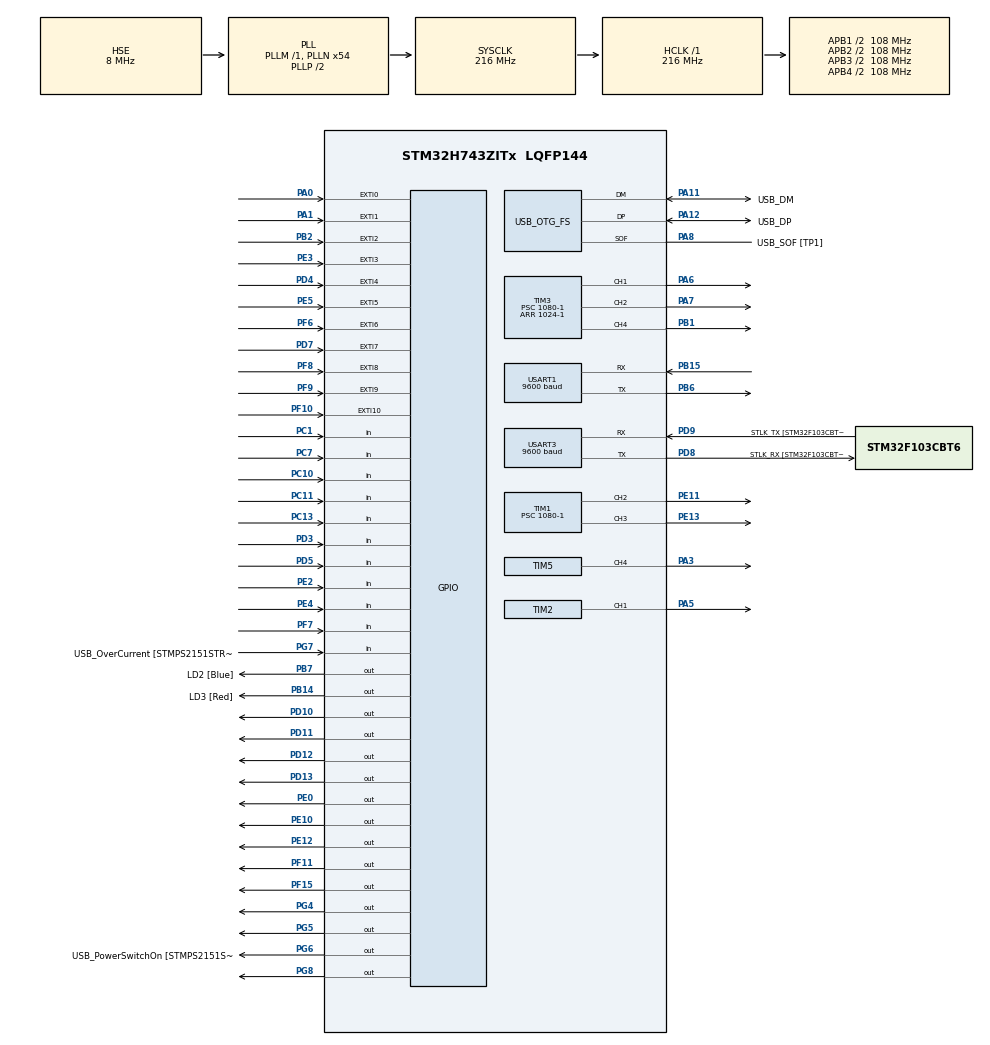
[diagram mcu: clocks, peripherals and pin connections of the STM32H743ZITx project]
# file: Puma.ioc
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Mcu.Family=STM32H7
Mcu.Name=STM32H743ZITx
Mcu.Package=LQFP144
NVIC.EXTI0_IRQn=true\:0\:0\:false\:false\:true\:true\:true
NVIC.EXTI1_IRQn=true\:0\:0\:false\:false\:true\:true\:true
NVIC.EXTI2_IRQn=true\:0\:0\:false\:false\:true\:true\:true
NVIC.EXTI3_IRQn=true\:0\:0\:false\:false\:true\:true\:true
NVIC.EXTI4_IRQn=true\:0\:0\:false\:false\:true\:true\:true
NVIC.EXTI9_5_IRQn=true\:0\:0\:false\:false\:true\:true\:true
NVIC.OTG_FS_IRQn=true\:0\:0\:false\:false\:true\:false\:true
NVIC.PriorityGroup=NVIC_PRIORITYGROUP_4
NVIC.TIM7_IRQn=true\:0\:0\:false\:false\:true\:true\:true
NVIC.USART3_IRQn=true\:0\:0\:false\:false\:true\:true\:true
PA0.GPIO_ModeDefaultEXTI=GPIO_MODE_IT_RISING_FALLING
PA0.GPIO_PuPd=GPIO_PULLUP
PA0.Signal=GPXTI0
PA1.GPIO_ModeDefaultEXTI=GPIO_MODE_IT_RISING_FALLING
PA1.GPIO_PuPd=GPIO_PULLUP
PA1.Signal=GPXTI1
PA10.GPIO_Label=USB_ID
PA10.Signal=USB_OTG_FS_ID
PA11.GPIO_Label=USB_DM
PA11.Mode=Device_Only
PA11.Signal=USB_OTG_FS_DM
PA12.GPIO_Label=USB_DP
PA12.Mode=Device_Only
PA12.Signal=USB_OTG_FS_DP
PA13\ (JTMS/SWDIO).Mode=Serial_Wire
PA13\ (JTMS/SWDIO).Signal=DEBUG_JTMS-SWDIO
PA14\ (JTCK/SWCLK).Mode=Serial_Wire
PA14\ (JTCK/SWCLK).Signal=DEBUG_JTCK-SWCLK
PA15\ (JTDI).Signal=DEBUG_JTDI
PA2.GPIO_Label=RMII_MDIO
PA2.Signal=ETH_MDIO
PA3.Signal=S_TIM5_CH4
PA5.Signal=S_TIM2_CH1
PA6.Signal=S_TIM3_CH1
PA7.Signal=S_TIM3_CH2
PA8.GPIO_Label=USB_SOF [TP1]
PA8.Mode=Activate_SOF_FS
PA8.Signal=USB_OTG_FS_SOF
PB1.Signal=S_TIM3_CH4
PB13.GPIO_Label=RMII_TXD1
PB13.Signal=ETH_TXD1
PB14.GPIO_Label=LD3 [Red]
PB14.GPIO_PuPd=GPIO_NOPULL
PB14.Signal=GPIO_Output
PB15.Mode=Asynchronous
PB15.Signal=USART1_RX
PB2.GPIO_ModeDefaultEXTI=GPIO_MODE_IT_RISING_FALLING
PB2.GPIO_PuPd=GPIO_PULLUP
PB2.Signal=GPXTI2
PB6.Mode=Asynchronous
PB6.Signal=USART1_TX
PB7.GPIO_Label=LD2 [Blue]
PB7.GPIO_PuPd=GPIO_NOPULL
PB7.Signal=GPIO_Output
PC1.GPIO_PuPd=GPIO_PULLUP
PC1.Signal=GPIO_Input
PC10.GPIO_PuPd=GPIO_PULLUP
PC10.Signal=GPIO_Input
PC11.Signal=GPIO_Input
PC13.GPIO_PuPd=GPIO_PULLDOWN
PC13.Signal=GPIO_Input
PC14-OSC32_IN\ (OSC32_IN).Mode=LSE-External-Oscillator
PC14-OSC32_IN\ (OSC32_IN).Signal=RCC_OSC32_IN
PC15-OSC32_OUT\ (OSC32_OUT).Mode=LSE-External-Oscillator
PC15-OSC32_OUT\ (OSC32_OUT).Signal=RCC_OSC32_OUT
PC4.GPIO_Label=RMII_RXD0
PC4.Signal=ETH_RXD0
PC5.GPIO_Label=RMII_RXD1
PC5.Signal=ETH_RXD1
PC7.GPIO_PuPd=GPIO_PULLUP
PC7.Signal=GPIO_Input
PD10.GPIO_PuPd=GPIO_PULLDOWN
PD10.Signal=GPIO_Output
PD11.GPIO_PuPd=GPIO_PULLDOWN
PD11.Signal=GPIO_Output
PD12.GPIO_PuPd=GPIO_PULLDOWN
PD12.Signal=GPIO_Output
PD13.GPIO_PuPd=GPIO_PULLDOWN
PD13.Signal=GPIO_Output
PD3.GPIO_PuPd=GPIO_NOPULL
PD3.Signal=GPIO_Input
PD4.GPIO_ModeDefaultEXTI=GPIO_MODE_IT_RISING_FALLING
PD4.GPIO_PuPd=GPIO_PULLUP
PD4.Signal=GPXTI4
PD5.GPIO_PuPd=GPIO_PULLUP
PD5.Signal=GPIO_Input
PD7.GPIO_ModeDefaultEXTI=GPIO_MODE_IT_RISING_FALLING
PD7.GPIO_PuPd=GPIO_PULLUP
PD7.Signal=GPXTI7
PD8.GPIO_Label=STLK_RX [STM32F103CBT6_PA3]
PD8.Mode=Asynchronous
PD8.Signal=USART3_TX
PD9.GPIO_Label=STLK_TX [STM32F103CBT6_PA2]
PD9.Mode=Asynchronous
PD9.Signal=USART3_RX
PE0.GPIO_PuPd=GPIO_PULLDOWN
PE0.Signal=GPIO_Output
PE10.GPIO_PuPd=GPIO_PULLDOWN
PE10.Signal=GPIO_Output
PE11.Signal=S_TIM1_CH2
PE12.GPIO_PuPd=GPIO_PULLDOWN
PE12.Signal=GPIO_Output
PE13.Signal=S_TIM1_CH3
PE2.Signal=GPIO_Input
PE3.GPIO_ModeDefaultEXTI=GPIO_MODE_IT_RISING_FALLING
PE3.GPIO_PuPd=GPIO_PULLUP
PE3.Signal=GPXTI3
PE4.GPIO_PuPd=GPIO_NOPULL
PE4.Signal=GPIO_Input
PE5.GPIO_PuPd=GPIO_PULLDOWN
PE5.Signal=GPXTI5
PF10.GPIO_PuPd=GPIO_PULLDOWN
PF10.Signal=GPXTI10
PF11.GPIO_PuPd=GPIO_PULLDOWN
PF11.Signal=GPIO_Output
PF15.Signal=GPIO_Output
PF6.GPIO_PuPd=GPIO_PULLDOWN
PF6.Signal=GPXTI6
PF7.GPIO_PuPd=GPIO_NOPULL
PF7.Signal=GPIO_Input
PF8.GPIO_PuPd=GPIO_PULLDOWN
PF8.Signal=GPXTI8
PF9.GPIO_PuPd=GPIO_PULLDOWN
PF9.Signal=GPXTI9
PG11.GPIO_Label=RMII_TX_EN
PG11.Signal=ETH_TX_EN
PG13.GPIO_Label=RMII_TXD0
PG13.Signal=ETH_TXD0
PG4.GPIO_PuPd=GPIO_PULLDOWN
PG4.Signal=GPIO_Output
PG5.GPIO_PuPd=GPIO_PULLDOWN
PG5.Signal=GPIO_Output
PG6.GPIO_Label=USB_PowerSwitchOn [STMPS2151STR_EN]
PG6.Signal=GPIO_Output
PG7.GPIO_Label=USB_OverCurrent [STMPS2151STR_FAULT]
PG7.GPIO_PuPd=GPIO_PULLUP
PG7.Signal=GPIO_Input
PG8.GPIO_PuPd=GPIO_PULLDOWN
PG8.Signal=GPIO_Output
PH0-OSC_IN\ (PH0).GPIO_Label=MCO
PH0-OSC_IN\ (PH0).Mode=HSE-External-Clock-Source
PH0-OSC_IN\ (PH0).Signal=RCC_OSC_IN
PH1-OSC_OUT\ (PH1).Signal=RCC_OSC_OUT
ProjectManager.HeapSize=0x200
ProjectManager.StackSize=0x400
ProjectManager.TargetToolchain=STM32CubeIDE
RCC.48MHZClocksFreq_Value=24000000
RCC.ADCFreq_Value=16125000
RCC.AHBFreq_Value=216000000
RCC.APB1CLKDivider=RCC_HCLK_DIV4
RCC.APB1Freq_Value=108000000
RCC.APB1TimFreq_Value=108000000
RCC.APB2CLKDivider=RCC_HCLK_DIV2
RCC.APB2Freq_Value=108000000
RCC.APB2TimFreq_Value=216000000
RCC.APB3Freq_Value=108000000
RCC.APB4Freq_Value=108000000
RCC.CortexFreq_Value=216000000
RCC.D1PPRE=RCC_APB3_DIV2
RCC.D2PPRE1=RCC_APB1_DIV2
RCC.D2PPRE2=RCC_APB2_DIV2
RCC.D3PPRE=RCC_APB4_DIV2
RCC.DIVM1=1
RCC.DIVN1=54
RCC.DIVQ1=9
RCC.HCLKFreq_Value=216000000
RCC.HSE_VALUE=8000000
RCC.HSI_VALUE=64000000
RCC.PLLFRACN=0
RCC.PLLM=25
RCC.PLLMUL=RCC_PLL_MUL9
RCC.PLLN=432
RCC.PLLQ=9
RCC.PRESCALERUSB=RCC_USBCLKSOURCE_PLL_DIV1_5
RCC.PWR_Regulator_Voltage_Scale=PWR_REGULATOR_VOLTAGE_SCALE1
RCC.SYSCLKFreq_VALUE=216000000
RCC.SYSCLKSource=RCC_SYSCLKSOURCE_PLLCLK
RCC.SYSCLKSourceVirtual=RCC_SYSCLKSOURCE_PLLCLK
RCC.USBFreq_Value=48000000
RCC.VCOOutputFreq_Value=432000000
SH.S_TIM1_CH2.0=TIM1_CH2,PWM Generation2 CH2
SH.S_TIM1_CH3.0=TIM1_CH3,PWM Generation3 CH3
SH.S_TIM2_CH1.0=TIM2_CH1,PWM Generation1 CH1
SH.S_TIM3_CH1.0=TIM3_CH1,PWM Generation1 CH1
SH.S_TIM3_CH2.0=TIM3_CH2,PWM Generation2 CH2
SH.S_TIM3_CH4.0=TIM3_CH4,PWM Generation4 CH4
SH.S_TIM5_CH4.0=TIM5_CH4,PWM Generation4 CH4
TIM1.Channel-PWM\ Generation2\ CH2=TIM_CHANNEL_2
TIM1.Channel-PWM\ Generation3\ CH3=TIM_CHANNEL_3
TIM1.Period=1024-1
TIM1.Prescaler=1080-1
TIM2.Channel-PWM\ Generation1\ CH1=TIM_CHANNEL_1
TIM2.Period=1024-1
TIM2.Prescaler=1080-1
TIM3.Channel-PWM\ Generation1\ CH1=TIM_CHANNEL_1
TIM3.Channel-PWM\ Generation2\ CH2=TIM_CHANNEL_2
TIM3.Channel-PWM\ Generation4\ CH4=TIM_CHANNEL_4
TIM3.Period=1024-1
TIM3.Prescaler=1080-1
TIM5.Channel-PWM\ Generation4\ CH4=TIM_CHANNEL_4
TIM5.Period=1024-1
TIM5.Prescaler=1080-1
TIM7.AutoReloadPreload=TIM_AUTORELOAD_PRELOAD_ENABLE
TIM7.Period=1000-1
TIM7.Prescaler=1080-1
USART1.BaudRate=9600
USART1.Parity=PARITY_NONE
USART1.VirtualMode-Asynchronous=VM_ASYNC
USART3.BaudRate=9600
USART3.VirtualMode-Asynchronous=VM_ASYNC
USB_DEVICE.CLASS_NAME_FS=CDC
USB_DEVICE.VirtualMode-CDC_FS=Cdc
USB_DEVICE.VirtualModeFS=Cdc_FS
USB_OTG_FS.VirtualMode=Device_Only
VP_TIM7_VS_ClockSourceINT.Mode=Enable_Timer
VP_USB_DEVICE_VS_USB_DEVICE_CDC_FS.Mode=CDC_FS
board=NUCLEO-H743ZI

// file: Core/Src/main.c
/* USER CODE BEGIN Header */
/**
  ******************************************************************************
  * @file           : main.c
  * @brief          : Main program body
  ******************************************************************************
  * @attention
  *
  * <h2><center>&copy; Copyright (c) 2020 STMicroelectronics.
  * All rights reserved.</center></h2>
  *
  * This software component is licensed by ST under BSD 3-Clause license,
  * the "License"; You may not use this file except in compliance with the
  * License. You may obtain a copy of the License at:
  *                        opensource.org/licenses/BSD-3-Clause
  *
  ******************************************************************************
  */
/* USER CODE END Header */

#include "main.h"
#include "usb_device.h"

/* USER CODE BEGIN Includes */
#include <stdbool.h>
#include <stdio.h>
#include <string.h>
#include <stdlib.h>
#include "stm32h7xx_hal_uart.h"
#include "G_q.h"
#include "G_q_terminate.h"
#include "rt_nonfinite.h"

/* USER CODE END Includes */

/* USER CODE BEGIN PTD */
typedef struct PINS{
	GPIO_TypeDef* port;
	uint16_t  pin_num;
}PINS;

typedef struct HOME{
	double coords[6];
	bool home_set;
}HOME;

/* USER CODE END PTD */

/* USER CODE BEGIN PD */
#define HIGH 1U
#define LOW  0U
#define NUM_JOINTS 6
#define REV_COUNT_1 17280.0
#define REV_COUNT_2 5756.0
#define REV_COUNT_3 115.0 //assumed, may not be correct
#define G_CONSTANT -9.81
#define PI 3.1415926
const int K_P[] = {550, 550, 570, 1333, 1600, 700};
const int K_V[] = {400, 230, 250, 1100, 600, 600};
const double V_CONSTANT[] = {1.0456,1.0456,1.0456, 0.32,0.32, 0.00091};
const double T_CONSTANT[] = {1.307, 1.307, 1.307, 0.5324, 0.5324, 0.089240515};
const double RESISTANCE[] = {1.7, 1.7, 1.7, 5, 5, 5};
const double test_pos[] = {3.1415926/2.0, 3.1415926/4.0, 3.1415926/3.0, 3.1415926/2.0, 3.1415926/5.0, 3.1415926};
//for measuring CPU cycle
#define  ARM_CM_DEMCR      (*(uint32_t *)0xE000EDFC)

#define  ARM_CM_DWT_CTRL   (*(uint32_t *)0xE0001000)

#define  ARM_CM_DWT_CYCCNT (*(uint32_t *)0xE0001004)

/* USER CODE END PD */

TIM_HandleTypeDef htim1;
TIM_HandleTypeDef htim2;
TIM_HandleTypeDef htim3;
TIM_HandleTypeDef htim5;
TIM_HandleTypeDef htim7;

UART_HandleTypeDef huart1;
UART_HandleTypeDef huart3;

/* USER CODE BEGIN PV */
volatile int Lstate[6];
volatile int val_encoderB[6];
volatile int val_encoderA[6];
volatile int motor_steps[6] = {0};
volatile bool direction [6] = {true};
volatile bool need_control  = true;
volatile double joint_speed[6] = {0};
volatile int delta_pos [6] = {0};
volatile double current_angle[6] = {0};
double backemf [6] = {0};
double desired_pos[6] = {0};
bool start_up = true;
bool homing_state [5] = {false};
bool start_state = true;

//pins: 0,1,2,3,4,7 - PA0(PA15), PA1(PD5), PB2(PA9), PE3(PE4), PD4(PD3), PD7(PE2)
// HAL_GPIO_ReadPin(GPIO_TypeDef *GPIOx, uint16_t GPIO_Pin)
PINS encoders[12];
//PE0, PF11, PG8, PG5, PF15, PD10, PG4, PE10, PE12, PD11, PD12, PD13
PINS Driver_P [6];
PINS Driver_N [6];

//Homing coords
HOME Homing;
/* USER CODE END PV */

void SystemClock_Config(void);
static void MX_GPIO_Init(void);
static void MX_USART3_UART_Init(void);
static void MX_TIM1_Init(void);
static void MX_TIM2_Init(void);
static void MX_TIM3_Init(void);
static void MX_TIM5_Init(void);
static void MX_USART1_UART_Init(void);
static void MX_TIM7_Init(void);

/* USER CODE BEGIN 0 */
extern uint8_t CDC_Transmit_FS(uint8_t* Buf, uint16_t Len);
//handle GPIO interrupt
void HAL_GPIO_EXTI_Callback(uint16_t GPIO_Pin)
{
	/*typedef struct PINS{
		GPIO_TypeDef* port;
		uint16_t  pin_num;
    }PINS;*/
	//encoder pins: 0,1,2,3,4,7 - PA0(PC10)y, PA1(PD5)y, PB2(PC7)y, PE3(PE4)y, PD4(PD3)y, PD7(PE2)y
	//homing pins: PE5, PF6, 8, 9, 10
	// HAL_GPIO_ReadPin(GPIO_TypeDef *GPIOx, uint16_t GPIO_Pin)
	switch (GPIO_Pin){
	case GPIO_PIN_0:
		 Lstate[0] = HAL_GPIO_ReadPin(encoders[0].port, encoders[0].pin_num);
		  if((val_encoderA[0] == LOW) && Lstate[0]==HIGH)
		  {
			val_encoderB[0] = HAL_GPIO_ReadPin(encoders[1].port, encoders[1].pin_num);
		    if(val_encoderB[0] == LOW && direction[0])
		    {
		      direction[0] = false; //Reverse
		    }
		    else if(val_encoderB[0] == HIGH && !direction[0])
		    {
		    	direction[0] = true;  //Forward
		    }
		  }
		  val_encoderA[0] = Lstate[0];

		  if(!direction[0]){
			  motor_steps[0]++;
			  delta_pos[0]++;
		  }
		  else{
			  motor_steps[0]--;
			  delta_pos[0]--;
		  }
		break;

	case GPIO_PIN_1:
		 Lstate[1] = HAL_GPIO_ReadPin(encoders[2].port, encoders[2].pin_num);
		  if((val_encoderA[1] == LOW) && Lstate[1]==HIGH)
		  {
			val_encoderB[1] = HAL_GPIO_ReadPin(encoders[3].port, encoders[3].pin_num);
		    if(val_encoderB[1] == LOW && direction[1])
		    {
		      direction[1] = false; //Reverse
		    }
		    else if(val_encoderB[1] == HIGH && !direction[1])
		    {
		    	direction[1] = true;  //Forward
		    }
		  }
		  val_encoderA[1] = Lstate[1];

		  if(!direction[1]){
			  motor_steps[1]++;
			  delta_pos[1]++;
		  }
		  else{
			  motor_steps[1]--;
			  delta_pos[1]--;
		  }
		break;

	case GPIO_PIN_2:
		 Lstate[2] = HAL_GPIO_ReadPin(encoders[4].port, encoders[4].pin_num);
		  if((val_encoderA[2] == LOW) && Lstate[2]==HIGH)
		  {
			val_encoderB[2] = HAL_GPIO_ReadPin(encoders[5].port, encoders[5].pin_num);
		    if(val_encoderB[2] == LOW && direction[2])
		    {
		      direction[2] = false; //Reverse
		    }
		    else if(val_encoderB[2] == HIGH && !direction[2])
		    {
		    	direction[2] = true;  //Forward
		    }
		  }
		  val_encoderA[2] = Lstate[2];

		  if(!direction[2]){
			  motor_steps[2]++;
			  delta_pos[2]++;
		  }
		  else{
			  motor_steps[2]--;
			  delta_pos[2]--;
		  }
		break;
	case GPIO_PIN_3:
		 Lstate[3] = HAL_GPIO_ReadPin(encoders[6].port, encoders[6].pin_num);
		  if((val_encoderA[3] == LOW) && Lstate[3]==HIGH)
		  {
			val_encoderB[3] = HAL_GPIO_ReadPin(encoders[7].port, encoders[7].pin_num);
		    if(val_encoderB[3] == LOW && direction[3])
		    {
		      direction[3] = false; //Reverse
		    }
		    else if(val_encoderB[3] == HIGH && !direction[3])
		    {
		    	direction[3] = true;  //Forward
		    }
		  }
		  val_encoderA[3] = Lstate[3];

		  if(!direction[3]){
			  motor_steps[3]++;
			  delta_pos[3]++;
		  }
		  else{
			  motor_steps[3]--;
			  delta_pos[3]--;
		  }
		break;
	case GPIO_PIN_4:
		 Lstate[4] = HAL_GPIO_ReadPin(encoders[8].port, encoders[8].pin_num);
		  if((val_encoderA[4] == LOW) && Lstate[4]==HIGH)
		  {
			val_encoderB[4] = HAL_GPIO_ReadPin(encoders[9].port, encoders[9].pin_num);
		    if(val_encoderB[4] == LOW && direction[4])
		    {
		      direction[4] = false; //Reverse
		    }
		    else if(val_encoderB[4] == HIGH && !direction[4])
		    {
		    	direction[4] = true;  //Forward
		    }
		  }
		  val_encoderA[4] = Lstate[4];

		  if(!direction[4]){
			  motor_steps[4]++;
			  delta_pos[4]++;
		  }
		  else{
			  motor_steps[4]--;
			  delta_pos[4]--;
		  }
		break;
	case GPIO_PIN_7:
		 Lstate[5] = HAL_GPIO_ReadPin(encoders[10].port, encoders[10].pin_num);
		  if((val_encoderA[5] == LOW) && Lstate[5]==HIGH)
		  {
			val_encoderB[5] = HAL_GPIO_ReadPin(encoders[11].port, encoders[11].pin_num);
		    if(val_encoderB[5] == LOW && direction[5])
		    {
		      direction[5] = false; //Reverse
		    }
		    else if(val_encoderB[5] == HIGH && !direction[5])
		    {
		    	direction[5] = true;  //Forward
		    }
		  }
		  val_encoderA[5] = Lstate[5];

		  if(!direction[5]){
			  motor_steps[5]++;
			  delta_pos[5]++;
		  }
		  else{
			  motor_steps[5]--;
			  delta_pos[5]--;
		  }
		break;
	case GPIO_PIN_5:
		desired_pos[0] = (double)motor_steps[0] *2.0*3.1415926/REV_COUNT_1*2.0;
		homing_state[0] = true;
		break;
	case GPIO_PIN_6:
		desired_pos[1] = (double)motor_steps[1] *2.0*3.1415926/REV_COUNT_1*2.0;
		homing_state[1] = true;
		break;
	case GPIO_PIN_8:
		desired_pos[2] = (double)motor_steps[2] *2.0*3.1415926/REV_COUNT_1*2.0;
		homing_state[2] = true;
		break;
	case GPIO_PIN_9:
		desired_pos[3] = (double)motor_steps[3] *2.0*3.1415926/REV_COUNT_2*2.0;
		homing_state[3] = true;
		break;
	case GPIO_PIN_10:
		desired_pos[4] = (double)motor_steps[4] *2.0*3.1415926/REV_COUNT_2*2.0;
		homing_state[4] = true;
		break;
	default:
		break;
	}
}

void set_up_encoder_pins(void){
	//pins: 0,1,2,3,4,7 - PA0(PC10)y, PA1(PD5)y, PB2(PC7)y, PE3(PE4)y, PD4(PD3)y, PD7(PE2)y
	// HAL_GPIO_ReadPin(GPIO_TypeDef *GPIOx, uint16_t GPIO_Pin)
	encoders[0].port = GPIOA; encoders[0].pin_num = GPIO_PIN_0;
	encoders[1].port = GPIOC; encoders[1].pin_num = GPIO_PIN_10;
	encoders[2].port = GPIOA; encoders[2].pin_num = GPIO_PIN_1;
	encoders[3].port = GPIOD; encoders[3].pin_num = GPIO_PIN_5;
	encoders[4].port = GPIOB; encoders[4].pin_num = GPIO_PIN_2;
	encoders[5].port = GPIOC; encoders[5].pin_num = GPIO_PIN_7;
	encoders[6].port = GPIOE; encoders[6].pin_num = GPIO_PIN_3;
	encoders[7].port = GPIOE; encoders[7].pin_num = GPIO_PIN_4;
	encoders[8].port = GPIOD; encoders[8].pin_num = GPIO_PIN_4;
	encoders[9].port = GPIOD; encoders[9].pin_num = GPIO_PIN_3;
	encoders[10].port = GPIOD; encoders[10].pin_num = GPIO_PIN_7;
    encoders[11].port = GPIOE; encoders[11].pin_num = GPIO_PIN_2;
}
void set_up_driver_pins(void){
	//PE0, PF11, PG8, PG5, PF15, PD10, PG4, PE10, PE12, PD11, PD12, PD13
	Driver_P[0].port = GPIOE; Driver_P[0].pin_num = GPIO_PIN_0;
	Driver_N[0].port = GPIOF; Driver_N[0].pin_num = GPIO_PIN_11;
	Driver_P[1].port = GPIOG; Driver_P[1].pin_num = GPIO_PIN_8;
	Driver_N[1].port = GPIOG; Driver_N[1].pin_num = GPIO_PIN_5;
	Driver_P[2].port = GPIOF; Driver_P[2].pin_num = GPIO_PIN_15;
	Driver_N[2].port = GPIOD; Driver_N[3].pin_num = GPIO_PIN_10;
	Driver_P[3].port = GPIOG; Driver_P[3].pin_num = GPIO_PIN_4;
	Driver_N[3].port = GPIOE; Driver_N[3].pin_num = GPIO_PIN_10;
	Driver_P[4].port = GPIOE; Driver_P[4].pin_num = GPIO_PIN_12;
	Driver_N[4].port = GPIOD; Driver_N[4].pin_num = GPIO_PIN_11;
	Driver_P[5].port = GPIOD; Driver_P[5].pin_num = GPIO_PIN_12;
	Driver_N[5].port = GPIOD; Driver_N[5].pin_num = GPIO_PIN_13;
}

void PWM3_change_duty_cycle (int valuePA6, int valuePB1, int valuePA7){
	TIM_OC_InitTypeDef sConfigOC = {0};
	sConfigOC.OCMode = TIM_OCMODE_PWM1;
	  sConfigOC.Pulse = valuePA6;
	  sConfigOC.OCPolarity = TIM_OCPOLARITY_HIGH;
	  sConfigOC.OCFastMode = TIM_OCFAST_DISABLE;
	  if (HAL_TIM_PWM_ConfigChannel(&htim3, &sConfigOC, TIM_CHANNEL_1) != HAL_OK)
	  {
	    Error_Handler();
	  }
	  /*sConfigOC.Pulse = valuePB0;
	  if (HAL_TIM_PWM_ConfigChannel(&htim3, &sConfigOC, TIM_CHANNEL_3) != HAL_OK)
	  {
	    Error_Handler();
	  }*/
	  sConfigOC.Pulse = valuePB1;
	  if (HAL_TIM_PWM_ConfigChannel(&htim3, &sConfigOC, TIM_CHANNEL_4) != HAL_OK)
	  {
	    Error_Handler();
	  }
	  sConfigOC.Pulse = valuePA7;
	  if (HAL_TIM_PWM_ConfigChannel(&htim3, &sConfigOC, TIM_CHANNEL_2) != HAL_OK)
	  	  {
	  	    Error_Handler();
	  	  }
	  HAL_TIM_PWM_Start(&htim3, TIM_CHANNEL_1);
	  HAL_TIM_PWM_Start(&htim3, TIM_CHANNEL_2);
	  HAL_TIM_PWM_Start(&htim3, TIM_CHANNEL_4);
}
void PWM1_change_duty_cycle (int valuePE11, int valuePE13){
	TIM_OC_InitTypeDef sConfigOC = {0};
	sConfigOC.OCMode = TIM_OCMODE_PWM1;
	  sConfigOC.Pulse = valuePE11;
	  sConfigOC.OCPolarity = TIM_OCPOLARITY_HIGH;
	  sConfigOC.OCNPolarity = TIM_OCNPOLARITY_HIGH;
	  sConfigOC.OCFastMode = TIM_OCFAST_DISABLE;
	  sConfigOC.OCIdleState = TIM_OCIDLESTATE_RESET;
	  sConfigOC.OCNIdleState = TIM_OCNIDLESTATE_RESET;
	  if (HAL_TIM_PWM_ConfigChannel(&htim1, &sConfigOC, TIM_CHANNEL_2) != HAL_OK)
	  {
	    Error_Handler();
	  }
	  sConfigOC.Pulse = valuePE13;
	  if (HAL_TIM_PWM_ConfigChannel(&htim1, &sConfigOC, TIM_CHANNEL_3) != HAL_OK)
	  {
	    Error_Handler();
	  }
	  HAL_TIM_PWM_Start(&htim1, TIM_CHANNEL_2);
	  HAL_TIM_PWM_Start(&htim1, TIM_CHANNEL_3);
}

//pin PA5
void PWM2_change_duty_cycle (int valuePA5){
	TIM_OC_InitTypeDef sConfigOC = {0};
	sConfigOC.OCMode = TIM_OCMODE_PWM1;
    sConfigOC.Pulse = valuePA5;
	sConfigOC.OCPolarity = TIM_OCPOLARITY_HIGH;
	sConfigOC.OCFastMode = TIM_OCFAST_DISABLE;
	if (HAL_TIM_PWM_ConfigChannel(&htim2, &sConfigOC, TIM_CHANNEL_1) != HAL_OK)
	{
	  Error_Handler();
    }
	HAL_TIM_PWM_Start(&htim2, TIM_CHANNEL_1);
}
#ifdef __GNUC__
/* With GCC/RAISONANCE, small printf (option LD Linker->Libraries->Small printf
   set to 'Yes') calls __io_putchar() */
#define PUTCHAR_PROTOTYPE int __io_putchar(int ch)
#else
#define PUTCHAR_PROTOTYPE int fputc(int ch, FILE *f)
#endif /* __GNUC__ */
PUTCHAR_PROTOTYPE
{
  /* Place your implementation of fputc here */
  /* e.g. write a character to the USART1 and Loop until the end of transmission */
  //HAL_UART_Transmit(&UartHandle, (uint8_t *)&ch, 1, 0xFFFF);
  CDC_Transmit_FS((uint8_t *)&ch, 1);
  return ch;
}

void HAL_TIM_PeriodElapsedCallback(TIM_HandleTypeDef *htim){
	int j;
	if (htim == &htim7){
		for (j = 0; j < NUM_JOINTS; j++){

			if (j <3){
				current_angle[j] = (double)motor_steps[j] *2.0*3.1415926/REV_COUNT_1*2.0;
				joint_speed[j] = (double)delta_pos[j] *2.0*3.1415926/REV_COUNT_1/0.01*2.0;
			}
			else if (j < 5){
				current_angle[j] = (double)motor_steps[j] *2.0*3.1415926/REV_COUNT_2*2.0;
				joint_speed[j] = (double)delta_pos[j] *2.0*3.1415926/REV_COUNT_2/0.01*2.0;
			}
			else{
				current_angle[j] = (double)motor_steps[j] *2.0*3.1415926/REV_COUNT_3*2.0;
				joint_speed[j] = (double)delta_pos[j] *2.0*3.1415926/REV_COUNT_3/0.01*2.0;
			}
			delta_pos[j] = 0;
		}

		need_control = true;
	}
}

void Joint_controller(bool homing, creal_T* G_q_vector){
	int k;
	int PWM_val [6] = {0};
	double G_q_r [6] = {0};
	G_q(G_CONSTANT, current_angle[2], current_angle[3], current_angle[4], current_angle[5], G_q_vector);
	for (k = 0; k < NUM_JOINTS; k++){
		//set duty cycle with PD+Gravity control
		G_q_r[k] = (double)G_q_vector[k].re;
		backemf[k] = joint_speed[k] * V_CONSTANT[k];
		G_q_r[k] *= 1024;
		G_q_r[k] /= (12.0 - backemf[k])/RESISTANCE[k]*T_CONSTANT[k];
		PWM_val[k] = G_q_r[k] + K_P[k] * (desired_pos[k] - current_angle[k]) - K_V[k] * joint_speed[k];
		if (PWM_val[k] > 1024){
			PWM_val[k] = 1024;
		}
		else if (PWM_val[k] < -1024){
			PWM_val[k] = -1024;
		}

		//set directions
		if (PWM_val[k] < 0){
			HAL_GPIO_WritePin(Driver_P[k].port, Driver_P[k].pin_num, 0);
			HAL_GPIO_WritePin(Driver_N[k].port, Driver_N[k].pin_num, 1);
			PWM_val[k] = 0-PWM_val[k];
		}
		else if (PWM_val[k] > 0){
			HAL_GPIO_WritePin(Driver_P[k].port, Driver_P[k].pin_num, 1);
			HAL_GPIO_WritePin(Driver_N[k].port, Driver_N[k].pin_num, 0);
		}
		else{
			HAL_GPIO_WritePin(Driver_P[k].port, Driver_P[k].pin_num, 0);
			HAL_GPIO_WritePin(Driver_N[k].port, Driver_N[k].pin_num, 0);
		}

	}
	PWM1_change_duty_cycle(PWM_val[0], PWM_val[1]);
	PWM2_change_duty_cycle(PWM_val[2]);
	PWM3_change_duty_cycle(PWM_val[3], PWM_val[4], PWM_val[5]);
}

void homing (void){
	//start_state = false;
	// need to set to false, don't forget
	/*int g = 0;
	for (g = 0; g < NUM_JOINTS; g++){
		current_angle[g] = 0;
		motor_steps[g] = 0;
	}*/
	//after everything is finished for homing it will set all coords to 0

	start_state = false;

}
void StartUp(void){

	//spin motors
	PWM1_change_duty_cycle(500, 500);
	PWM2_change_duty_cycle(500);
	PWM3_change_duty_cycle(500, 500, 0);
}

/* USER CODE END 0 */

int main(void)
{
  /* USER CODE BEGIN 1 */
	char* msg = "Hello Nucleo Fun!\n\r";
	char* EOL = "]\n\r";
	char* EOJ = ", ";
	char* timer_tester = "timed\n\r";
	char one_motor[10];
	char print_string[60];
	int i;
	uint32_t  start;
	uint32_t  stop;
	uint32_t  delta;
	creal_T G_q_vector[6];

	//setting up pins
	set_up_encoder_pins();
	set_up_driver_pins();

    for(i = 0; i < NUM_JOINTS; i++){
    	val_encoderA [i] = HIGH;
    	val_encoderB [i] = HIGH;
    	direction [i] = true;
    	desired_pos[i] = test_pos[i];
    }
    Homing.home_set = false;
    //for CPU cycle counts
    if (ARM_CM_DWT_CTRL != 0) {        // See if DWT is available

        ARM_CM_DEMCR      |= 1 << 24;  // Set bit 24

        ARM_CM_DWT_CYCCNT  = 0;

        ARM_CM_DWT_CTRL   |= 1 << 0;   // Set bit 0

    }

  /* USER CODE END 1 */

  /* MCU Configuration--------------------------------------------------------*/

  /* Reset of all peripherals, Initializes the Flash interface and the Systick. */
  HAL_Init();

  /* Configure the system clock */
  SystemClock_Config();

  /* Initialize all configured peripherals */
  MX_GPIO_Init();
  MX_USART3_UART_Init();
  MX_TIM1_Init();
  MX_TIM2_Init();
  MX_TIM3_Init();
  MX_TIM5_Init();
  MX_USART1_UART_Init();
  MX_USB_DEVICE_Init();
  MX_TIM7_Init();
  /* USER CODE BEGIN 2 */
  //PWM3_change_duty_cycle(1024, 500, 100);
  /* USER CODE END 2 */

  /* Infinite loop */
  while (1)
  {

    /* USER CODE BEGIN 3 */
	  start_up = !(homing_state[0] && homing_state[1] && homing_state[2] && homing_state[3] && homing_state[4]) && start_state;
	  Homing.home_set = (homing_state[0] && homing_state[1] && homing_state[2] && homing_state[3] && homing_state[4]) && start_state;
	  if (Homing.home_set){
		  homing();

	  }
	  else if (start_up){
		  StartUp();

	  }
	  //printf(msg);
	  if (HAL_GPIO_ReadPin(GPIOC, GPIO_PIN_13)){
		  itoa(motor_steps[0], one_motor, 10);
		  strcpy(print_string, one_motor);
		  for (i = 1; i < NUM_JOINTS; i++){
			  itoa(motor_steps[i], one_motor, 10);
			  strcat(print_string, EOJ);
			  strcat(print_string, one_motor);
		  }
		  strcat(print_string, EOL);
		  CDC_Transmit_FS((uint8_t*)"motor is at [", strlen(msg));
		  HAL_Delay(2);
		  CDC_Transmit_FS((uint8_t*)print_string, strlen(print_string));
		  HAL_Delay(2);
	  }
	  if (need_control){
		  start = ARM_CM_DWT_CYCCNT;
		  Joint_controller(false, G_q_vector);
		  stop  = ARM_CM_DWT_CYCCNT;
		  delta = stop - start;
		  need_control = false;
		  //CDC_Transmit_FS((uint8_t*)timer_tester, strlen(timer_tester));
		  //HAL_Delay(1);
	  }

	  //HAL_UART_Transmit(&huart1, (uint8_t*)msg, strlen(msg), 100);
	  //CDC_Transmit_FS(msg, sizeof(msg));
  }
  G_q_terminate();
  /* USER CODE END 3 */
}

void SystemClock_Config(void)
{
  RCC_OscInitTypeDef RCC_OscInitStruct = {0};
  RCC_ClkInitTypeDef RCC_ClkInitStruct = {0};
  RCC_PeriphCLKInitTypeDef PeriphClkInitStruct = {0};

  /** Supply configuration update enable
  */
  HAL_PWREx_ConfigSupply(PWR_LDO_SUPPLY);
  /** Configure the main internal regulator output voltage
  */
  __HAL_PWR_VOLTAGESCALING_CONFIG(PWR_REGULATOR_VOLTAGE_SCALE1);

  while(!__HAL_PWR_GET_FLAG(PWR_FLAG_VOSRDY)) {}
  /** Initializes the CPU, AHB and APB busses clocks
  */
  RCC_OscInitStruct.OscillatorType = RCC_OSCILLATORTYPE_HSE;
  RCC_OscInitStruct.HSEState = RCC_HSE_BYPASS;
  RCC_OscInitStruct.PLL.PLLState = RCC_PLL_ON;
  RCC_OscInitStruct.PLL.PLLSource = RCC_PLLSOURCE_HSE;
  RCC_OscInitStruct.PLL.PLLM = 1;
  RCC_OscInitStruct.PLL.PLLN = 54;
  RCC_OscInitStruct.PLL.PLLP = 2;
  RCC_OscInitStruct.PLL.PLLQ = 9;
  RCC_OscInitStruct.PLL.PLLR = 2;
  RCC_OscInitStruct.PLL.PLLRGE = RCC_PLL1VCIRANGE_3;
  RCC_OscInitStruct.PLL.PLLVCOSEL = RCC_PLL1VCOWIDE;
  RCC_OscInitStruct.PLL.PLLFRACN = 0;
  if (HAL_RCC_OscConfig(&RCC_OscInitStruct) != HAL_OK)
  {
    Error_Handler();
  }
  /** Initializes the CPU, AHB and APB busses clocks
  */
  RCC_ClkInitStruct.ClockType = RCC_CLOCKTYPE_HCLK|RCC_CLOCKTYPE_SYSCLK
                              |RCC_CLOCKTYPE_PCLK1|RCC_CLOCKTYPE_PCLK2
                              |RCC_CLOCKTYPE_D3PCLK1|RCC_CLOCKTYPE_D1PCLK1;
  RCC_ClkInitStruct.SYSCLKSource = RCC_SYSCLKSOURCE_PLLCLK;
  RCC_ClkInitStruct.SYSCLKDivider = RCC_SYSCLK_DIV1;
  RCC_ClkInitStruct.AHBCLKDivider = RCC_HCLK_DIV1;
  RCC_ClkInitStruct.APB3CLKDivider = RCC_APB3_DIV2;
  RCC_ClkInitStruct.APB1CLKDivider = RCC_APB1_DIV2;
  RCC_ClkInitStruct.APB2CLKDivider = RCC_APB2_DIV2;
  RCC_ClkInitStruct.APB4CLKDivider = RCC_APB4_DIV2;

  if (HAL_RCC_ClockConfig(&RCC_ClkInitStruct, FLASH_LATENCY_3) != HAL_OK)
  {
    Error_Handler();
  }
  PeriphClkInitStruct.PeriphClockSelection = RCC_PERIPHCLK_USART3|RCC_PERIPHCLK_USART1
                              |RCC_PERIPHCLK_USB;
  PeriphClkInitStruct.Usart234578ClockSelection = RCC_USART234578CLKSOURCE_D2PCLK1;
  PeriphClkInitStruct.Usart16ClockSelection = RCC_USART16CLKSOURCE_D2PCLK2;
  PeriphClkInitStruct.UsbClockSelection = RCC_USBCLKSOURCE_PLL;
  if (HAL_RCCEx_PeriphCLKConfig(&PeriphClkInitStruct) != HAL_OK)
  {
    Error_Handler();
  }
  /** Enable USB Voltage detector
  */
  HAL_PWREx_EnableUSBVoltageDetector();
}

static void MX_TIM1_Init(void)
{

  TIM_MasterConfigTypeDef sMasterConfig = {0};
  TIM_OC_InitTypeDef sConfigOC = {0};
  TIM_BreakDeadTimeConfigTypeDef sBreakDeadTimeConfig = {0};

  htim1.Instance = TIM1;
  htim1.Init.Prescaler = 1080-1;
  htim1.Init.CounterMode = TIM_COUNTERMODE_UP;
  htim1.Init.Period = 1024-1;
  htim1.Init.ClockDivision = TIM_CLOCKDIVISION_DIV1;
  htim1.Init.RepetitionCounter = 0;
  htim1.Init.AutoReloadPreload = TIM_AUTORELOAD_PRELOAD_DISABLE;
  if (HAL_TIM_PWM_Init(&htim1) != HAL_OK)
  {
    Error_Handler();
  }
  sMasterConfig.MasterOutputTrigger = TIM_TRGO_RESET;
  sMasterConfig.MasterOutputTrigger2 = TIM_TRGO2_RESET;
  sMasterConfig.MasterSlaveMode = TIM_MASTERSLAVEMODE_DISABLE;
  if (HAL_TIMEx_MasterConfigSynchronization(&htim1, &sMasterConfig) != HAL_OK)
  {
    Error_Handler();
  }
  sConfigOC.OCMode = TIM_OCMODE_PWM1;
  sConfigOC.Pulse = 0;
  sConfigOC.OCPolarity = TIM_OCPOLARITY_HIGH;
  sConfigOC.OCNPolarity = TIM_OCNPOLARITY_HIGH;
  sConfigOC.OCFastMode = TIM_OCFAST_DISABLE;
  sConfigOC.OCIdleState = TIM_OCIDLESTATE_RESET;
  sConfigOC.OCNIdleState = TIM_OCNIDLESTATE_RESET;
  if (HAL_TIM_PWM_ConfigChannel(&htim1, &sConfigOC, TIM_CHANNEL_2) != HAL_OK)
  {
    Error_Handler();
  }
  if (HAL_TIM_PWM_ConfigChannel(&htim1, &sConfigOC, TIM_CHANNEL_3) != HAL_OK)
  {
    Error_Handler();
  }
  sBreakDeadTimeConfig.OffStateRunMode = TIM_OSSR_DISABLE;
  sBreakDeadTimeConfig.OffStateIDLEMode = TIM_OSSI_DISABLE;
  sBreakDeadTimeConfig.LockLevel = TIM_LOCKLEVEL_OFF;
  sBreakDeadTimeConfig.DeadTime = 0;
  sBreakDeadTimeConfig.BreakState = TIM_BREAK_DISABLE;
  sBreakDeadTimeConfig.BreakPolarity = TIM_BREAKPOLARITY_HIGH;
  sBreakDeadTimeConfig.BreakFilter = 0;
  sBreakDeadTimeConfig.Break2State = TIM_BREAK2_DISABLE;
  sBreakDeadTimeConfig.Break2Polarity = TIM_BREAK2POLARITY_HIGH;
  sBreakDeadTimeConfig.Break2Filter = 0;
  sBreakDeadTimeConfig.AutomaticOutput = TIM_AUTOMATICOUTPUT_DISABLE;
  if (HAL_TIMEx_ConfigBreakDeadTime(&htim1, &sBreakDeadTimeConfig) != HAL_OK)
  {
    Error_Handler();
  }
  HAL_TIM_MspPostInit(&htim1);

}

static void MX_TIM2_Init(void)
{

  TIM_MasterConfigTypeDef sMasterConfig = {0};
  TIM_OC_InitTypeDef sConfigOC = {0};

  htim2.Instance = TIM2;
  htim2.Init.Prescaler = 1080-1;
  htim2.Init.CounterMode = TIM_COUNTERMODE_UP;
  htim2.Init.Period = 1024-1;
  htim2.Init.ClockDivision = TIM_CLOCKDIVISION_DIV1;
  htim2.Init.AutoReloadPreload = TIM_AUTORELOAD_PRELOAD_DISABLE;
  if (HAL_TIM_PWM_Init(&htim2) != HAL_OK)
  {
    Error_Handler();
  }
  sMasterConfig.MasterOutputTrigger = TIM_TRGO_RESET;
  sMasterConfig.MasterSlaveMode = TIM_MASTERSLAVEMODE_DISABLE;
  if (HAL_TIMEx_MasterConfigSynchronization(&htim2, &sMasterConfig) != HAL_OK)
  {
    Error_Handler();
  }
  sConfigOC.OCMode = TIM_OCMODE_PWM1;
  sConfigOC.Pulse = 0;
  sConfigOC.OCPolarity = TIM_OCPOLARITY_HIGH;
  sConfigOC.OCFastMode = TIM_OCFAST_DISABLE;
  if (HAL_TIM_PWM_ConfigChannel(&htim2, &sConfigOC, TIM_CHANNEL_1) != HAL_OK)
  {
    Error_Handler();
  }
  HAL_TIM_MspPostInit(&htim2);

}

static void MX_TIM3_Init(void)
{

  TIM_MasterConfigTypeDef sMasterConfig = {0};
  TIM_OC_InitTypeDef sConfigOC = {0};

  htim3.Instance = TIM3;
  htim3.Init.Prescaler = 1080-1;
  htim3.Init.CounterMode = TIM_COUNTERMODE_UP;
  htim3.Init.Period = 1024-1;
  htim3.Init.ClockDivision = TIM_CLOCKDIVISION_DIV1;
  htim3.Init.AutoReloadPreload = TIM_AUTORELOAD_PRELOAD_DISABLE;
  if (HAL_TIM_PWM_Init(&htim3) != HAL_OK)
  {
    Error_Handler();
  }
  sMasterConfig.MasterOutputTrigger = TIM_TRGO_RESET;
  sMasterConfig.MasterSlaveMode = TIM_MASTERSLAVEMODE_DISABLE;
  if (HAL_TIMEx_MasterConfigSynchronization(&htim3, &sMasterConfig) != HAL_OK)
  {
    Error_Handler();
  }
  sConfigOC.OCMode = TIM_OCMODE_PWM1;
  sConfigOC.Pulse = 0;
  sConfigOC.OCPolarity = TIM_OCPOLARITY_HIGH;
  sConfigOC.OCFastMode = TIM_OCFAST_DISABLE;
  if (HAL_TIM_PWM_ConfigChannel(&htim3, &sConfigOC, TIM_CHANNEL_1) != HAL_OK)
  {
    Error_Handler();
  }
  if (HAL_TIM_PWM_ConfigChannel(&htim3, &sConfigOC, TIM_CHANNEL_2) != HAL_OK)
  {
    Error_Handler();
  }
  if (HAL_TIM_PWM_ConfigChannel(&htim3, &sConfigOC, TIM_CHANNEL_4) != HAL_OK)
  {
    Error_Handler();
  }
  HAL_TIM_MspPostInit(&htim3);

}

static void MX_TIM5_Init(void)
{

  TIM_MasterConfigTypeDef sMasterConfig = {0};
  TIM_OC_InitTypeDef sConfigOC = {0};

  htim5.Instance = TIM5;
  htim5.Init.Prescaler = 1080-1;
  htim5.Init.CounterMode = TIM_COUNTERMODE_UP;
  htim5.Init.Period = 1024-1;
  htim5.Init.ClockDivision = TIM_CLOCKDIVISION_DIV1;
  htim5.Init.AutoReloadPreload = TIM_AUTORELOAD_PRELOAD_DISABLE;
  if (HAL_TIM_PWM_Init(&htim5) != HAL_OK)
  {
    Error_Handler();
  }
  sMasterConfig.MasterOutputTrigger = TIM_TRGO_RESET;
  sMasterConfig.MasterSlaveMode = TIM_MASTERSLAVEMODE_DISABLE;
  if (HAL_TIMEx_MasterConfigSynchronization(&htim5, &sMasterConfig) != HAL_OK)
  {
    Error_Handler();
  }
  sConfigOC.OCMode = TIM_OCMODE_PWM1;
  sConfigOC.Pulse = 0;
  sConfigOC.OCPolarity = TIM_OCPOLARITY_HIGH;
  sConfigOC.OCFastMode = TIM_OCFAST_DISABLE;
  if (HAL_TIM_PWM_ConfigChannel(&htim5, &sConfigOC, TIM_CHANNEL_4) != HAL_OK)
  {
    Error_Handler();
  }
  HAL_TIM_MspPostInit(&htim5);

}

static void MX_TIM7_Init(void)
{

  TIM_MasterConfigTypeDef sMasterConfig = {0};

  htim7.Instance = TIM7;
  htim7.Init.Prescaler = 1080-1;
  htim7.Init.CounterMode = TIM_COUNTERMODE_UP;
  htim7.Init.Period = 1000-1;
  htim7.Init.AutoReloadPreload = TIM_AUTORELOAD_PRELOAD_ENABLE;
  if (HAL_TIM_Base_Init(&htim7) != HAL_OK)
  {
    Error_Handler();
  }
  sMasterConfig.MasterOutputTrigger = TIM_TRGO_RESET;
  sMasterConfig.MasterSlaveMode = TIM_MASTERSLAVEMODE_DISABLE;
  if (HAL_TIMEx_MasterConfigSynchronization(&htim7, &sMasterConfig) != HAL_OK)
  {
    Error_Handler();
  }
  /* USER CODE BEGIN TIM7_Init 2 */
  /*##-2- Start the TIM Base generation in interrupt mode ####################*/
  if (HAL_TIM_Base_Start_IT(&htim7) != HAL_OK)
  {
    /* Starting Error */
    Error_Handler();
  }
  /* USER CODE END TIM7_Init 2 */

}

static void MX_USART1_UART_Init(void)
{

  huart1.Instance = USART1;
  huart1.Init.BaudRate = 9600;
  huart1.Init.WordLength = UART_WORDLENGTH_8B;
  huart1.Init.StopBits = UART_STOPBITS_1;
  huart1.Init.Parity = UART_PARITY_NONE;
  huart1.Init.Mode = UART_MODE_TX_RX;
  huart1.Init.HwFlowCtl = UART_HWCONTROL_NONE;
  huart1.Init.OverSampling = UART_OVERSAMPLING_16;
  huart1.Init.OneBitSampling = UART_ONE_BIT_SAMPLE_DISABLE;
  huart1.Init.ClockPrescaler = UART_PRESCALER_DIV1;
  huart1.AdvancedInit.AdvFeatureInit = UART_ADVFEATURE_NO_INIT;
  if (HAL_UART_Init(&huart1) != HAL_OK)
  {
    Error_Handler();
  }
  if (HAL_UARTEx_SetTxFifoThreshold(&huart1, UART_TXFIFO_THRESHOLD_1_8) != HAL_OK)
  {
    Error_Handler();
  }
  if (HAL_UARTEx_SetRxFifoThreshold(&huart1, UART_RXFIFO_THRESHOLD_1_8) != HAL_OK)
  {
    Error_Handler();
  }
  if (HAL_UARTEx_DisableFifoMode(&huart1) != HAL_OK)
  {
    Error_Handler();
  }

}

static void MX_USART3_UART_Init(void)
{

  huart3.Instance = USART3;
  huart3.Init.BaudRate = 9600;
  huart3.Init.WordLength = UART_WORDLENGTH_8B;
  huart3.Init.StopBits = UART_STOPBITS_1;
  huart3.Init.Parity = UART_PARITY_NONE;
  huart3.Init.Mode = UART_MODE_TX_RX;
  huart3.Init.HwFlowCtl = UART_HWCONTROL_NONE;
  huart3.Init.OverSampling = UART_OVERSAMPLING_16;
  huart3.Init.OneBitSampling = UART_ONE_BIT_SAMPLE_DISABLE;
  huart3.Init.ClockPrescaler = UART_PRESCALER_DIV1;
  huart3.AdvancedInit.AdvFeatureInit = UART_ADVFEATURE_NO_INIT;
  if (HAL_UART_Init(&huart3) != HAL_OK)
  {
    Error_Handler();
  }
  if (HAL_UARTEx_SetTxFifoThreshold(&huart3, UART_TXFIFO_THRESHOLD_1_8) != HAL_OK)
  {
    Error_Handler();
  }
  if (HAL_UARTEx_SetRxFifoThreshold(&huart3, UART_RXFIFO_THRESHOLD_1_8) != HAL_OK)
  {
    Error_Handler();
  }
  if (HAL_UARTEx_DisableFifoMode(&huart3) != HAL_OK)
  {
    Error_Handler();
  }

}

static void MX_GPIO_Init(void)
{
  GPIO_InitTypeDef GPIO_InitStruct = {0};

  /* GPIO Ports Clock Enable */
  __HAL_RCC_GPIOE_CLK_ENABLE();
  __HAL_RCC_GPIOC_CLK_ENABLE();
  __HAL_RCC_GPIOF_CLK_ENABLE();
  __HAL_RCC_GPIOH_CLK_ENABLE();
  __HAL_RCC_GPIOA_CLK_ENABLE();
  __HAL_RCC_GPIOB_CLK_ENABLE();
  __HAL_RCC_GPIOD_CLK_ENABLE();
  __HAL_RCC_GPIOG_CLK_ENABLE();

  /*Configure GPIO pin Output Level */
  HAL_GPIO_WritePin(GPIOF, GPIO_PIN_11|GPIO_PIN_15, GPIO_PIN_RESET);

  /*Configure GPIO pin Output Level */
  HAL_GPIO_WritePin(GPIOE, GPIO_PIN_10|GPIO_PIN_12|GPIO_PIN_0, GPIO_PIN_RESET);

  /*Configure GPIO pin Output Level */
  HAL_GPIO_WritePin(GPIOB, LD3_Pin|LD2_Pin, GPIO_PIN_RESET);

  /*Configure GPIO pin Output Level */
  HAL_GPIO_WritePin(GPIOD, GPIO_PIN_10|GPIO_PIN_11|GPIO_PIN_12|GPIO_PIN_13, GPIO_PIN_RESET);

  /*Configure GPIO pin Output Level */
  HAL_GPIO_WritePin(GPIOG, GPIO_PIN_4|GPIO_PIN_5|USB_PowerSwitchOn_Pin|GPIO_PIN_8, GPIO_PIN_RESET);

  /*Configure GPIO pins : PE2 PE4 */
  GPIO_InitStruct.Pin = GPIO_PIN_2|GPIO_PIN_4;
  GPIO_InitStruct.Mode = GPIO_MODE_INPUT;
  GPIO_InitStruct.Pull = GPIO_NOPULL;
  HAL_GPIO_Init(GPIOE, &GPIO_InitStruct);

  /*Configure GPIO pin : PE3 */
  GPIO_InitStruct.Pin = GPIO_PIN_3;
  GPIO_InitStruct.Mode = GPIO_MODE_IT_RISING_FALLING;
  GPIO_InitStruct.Pull = GPIO_PULLUP;
  HAL_GPIO_Init(GPIOE, &GPIO_InitStruct);

  /*Configure GPIO pin : PE5 */
  GPIO_InitStruct.Pin = GPIO_PIN_5;
  GPIO_InitStruct.Mode = GPIO_MODE_IT_RISING;
  GPIO_InitStruct.Pull = GPIO_PULLDOWN;
  HAL_GPIO_Init(GPIOE, &GPIO_InitStruct);

  /*Configure GPIO pin : PC13 */
  GPIO_InitStruct.Pin = GPIO_PIN_13;
  GPIO_InitStruct.Mode = GPIO_MODE_INPUT;
  GPIO_InitStruct.Pull = GPIO_PULLDOWN;
  HAL_GPIO_Init(GPIOC, &GPIO_InitStruct);

  /*Configure GPIO pins : PF6 PF8 PF9 PF10 */
  GPIO_InitStruct.Pin = GPIO_PIN_6|GPIO_PIN_8|GPIO_PIN_9|GPIO_PIN_10;
  GPIO_InitStruct.Mode = GPIO_MODE_IT_RISING;
  GPIO_InitStruct.Pull = GPIO_PULLDOWN;
  HAL_GPIO_Init(GPIOF, &GPIO_InitStruct);

  /*Configure GPIO pin : PF7 */
  GPIO_InitStruct.Pin = GPIO_PIN_7;
  GPIO_InitStruct.Mode = GPIO_MODE_INPUT;
  GPIO_InitStruct.Pull = GPIO_NOPULL;
  HAL_GPIO_Init(GPIOF, &GPIO_InitStruct);

  /*Configure GPIO pins : PC1 PC7 PC10 */
  GPIO_InitStruct.Pin = GPIO_PIN_1|GPIO_PIN_7|GPIO_PIN_10;
  GPIO_InitStruct.Mode = GPIO_MODE_INPUT;
  GPIO_InitStruct.Pull = GPIO_PULLUP;
  HAL_GPIO_Init(GPIOC, &GPIO_InitStruct);

  /*Configure GPIO pins : PA0 PA1 */
  GPIO_InitStruct.Pin = GPIO_PIN_0|GPIO_PIN_1;
  GPIO_InitStruct.Mode = GPIO_MODE_IT_RISING_FALLING;
  GPIO_InitStruct.Pull = GPIO_PULLUP;
  HAL_GPIO_Init(GPIOA, &GPIO_InitStruct);

  /*Configure GPIO pin : RMII_MDIO_Pin */
  GPIO_InitStruct.Pin = RMII_MDIO_Pin;
  GPIO_InitStruct.Mode = GPIO_MODE_AF_PP;
  GPIO_InitStruct.Pull = GPIO_NOPULL;
  GPIO_InitStruct.Speed = GPIO_SPEED_FREQ_LOW;
  GPIO_InitStruct.Alternate = GPIO_AF11_ETH;
  HAL_GPIO_Init(RMII_MDIO_GPIO_Port, &GPIO_InitStruct);

  /*Configure GPIO pins : RMII_RXD0_Pin RMII_RXD1_Pin */
  GPIO_InitStruct.Pin = RMII_RXD0_Pin|RMII_RXD1_Pin;
  GPIO_InitStruct.Mode = GPIO_MODE_AF_PP;
  GPIO_InitStruct.Pull = GPIO_NOPULL;
  GPIO_InitStruct.Speed = GPIO_SPEED_FREQ_LOW;
  GPIO_InitStruct.Alternate = GPIO_AF11_ETH;
  HAL_GPIO_Init(GPIOC, &GPIO_InitStruct);

  /*Configure GPIO pin : PB2 */
  GPIO_InitStruct.Pin = GPIO_PIN_2;
  GPIO_InitStruct.Mode = GPIO_MODE_IT_RISING_FALLING;
  GPIO_InitStruct.Pull = GPIO_PULLUP;
  HAL_GPIO_Init(GPIOB, &GPIO_InitStruct);

  /*Configure GPIO pin : PF11 */
  GPIO_InitStruct.Pin = GPIO_PIN_11;
  GPIO_InitStruct.Mode = GPIO_MODE_OUTPUT_PP;
  GPIO_InitStruct.Pull = GPIO_PULLDOWN;
  GPIO_InitStruct.Speed = GPIO_SPEED_FREQ_LOW;
  HAL_GPIO_Init(GPIOF, &GPIO_InitStruct);

  /*Configure GPIO pin : PF15 */
  GPIO_InitStruct.Pin = GPIO_PIN_15;
  GPIO_InitStruct.Mode = GPIO_MODE_OUTPUT_PP;
  GPIO_InitStruct.Pull = GPIO_NOPULL;
  GPIO_InitStruct.Speed = GPIO_SPEED_FREQ_LOW;
  HAL_GPIO_Init(GPIOF, &GPIO_InitStruct);

  /*Configure GPIO pins : PE10 PE12 PE0 */
  GPIO_InitStruct.Pin = GPIO_PIN_10|GPIO_PIN_12|GPIO_PIN_0;
  GPIO_InitStruct.Mode = GPIO_MODE_OUTPUT_PP;
  GPIO_InitStruct.Pull = GPIO_PULLDOWN;
  GPIO_InitStruct.Speed = GPIO_SPEED_FREQ_LOW;
  HAL_GPIO_Init(GPIOE, &GPIO_InitStruct);

  /*Configure GPIO pin : RMII_TXD1_Pin */
  GPIO_InitStruct.Pin = RMII_TXD1_Pin;
  GPIO_InitStruct.Mode = GPIO_MODE_AF_PP;
  GPIO_InitStruct.Pull = GPIO_NOPULL;
  GPIO_InitStruct.Speed = GPIO_SPEED_FREQ_LOW;
  GPIO_InitStruct.Alternate = GPIO_AF11_ETH;
  HAL_GPIO_Init(RMII_TXD1_GPIO_Port, &GPIO_InitStruct);

  /*Configure GPIO pins : LD3_Pin LD2_Pin */
  GPIO_InitStruct.Pin = LD3_Pin|LD2_Pin;
  GPIO_InitStruct.Mode = GPIO_MODE_OUTPUT_PP;
  GPIO_InitStruct.Pull = GPIO_NOPULL;
  GPIO_InitStruct.Speed = GPIO_SPEED_FREQ_LOW;
  HAL_GPIO_Init(GPIOB, &GPIO_InitStruct);

  /*Configure GPIO pins : PD10 PD11 PD12 PD13 */
  GPIO_InitStruct.Pin = GPIO_PIN_10|GPIO_PIN_11|GPIO_PIN_12|GPIO_PIN_13;
  GPIO_InitStruct.Mode = GPIO_MODE_OUTPUT_PP;
  GPIO_InitStruct.Pull = GPIO_PULLDOWN;
  GPIO_InitStruct.Speed = GPIO_SPEED_FREQ_LOW;
  HAL_GPIO_Init(GPIOD, &GPIO_InitStruct);

  /*Configure GPIO pins : PG4 PG5 PG8 */
  GPIO_InitStruct.Pin = GPIO_PIN_4|GPIO_PIN_5|GPIO_PIN_8;
  GPIO_InitStruct.Mode = GPIO_MODE_OUTPUT_PP;
  GPIO_InitStruct.Pull = GPIO_PULLDOWN;
  GPIO_InitStruct.Speed = GPIO_SPEED_FREQ_LOW;
  HAL_GPIO_Init(GPIOG, &GPIO_InitStruct);

  /*Configure GPIO pin : USB_PowerSwitchOn_Pin */
  GPIO_InitStruct.Pin = USB_PowerSwitchOn_Pin;
  GPIO_InitStruct.Mode = GPIO_MODE_OUTPUT_PP;
  GPIO_InitStruct.Pull = GPIO_NOPULL;
  GPIO_InitStruct.Speed = GPIO_SPEED_FREQ_LOW;
  HAL_GPIO_Init(USB_PowerSwitchOn_GPIO_Port, &GPIO_InitStruct);

  /*Configure GPIO pin : USB_OverCurrent_Pin */
  GPIO_InitStruct.Pin = USB_OverCurrent_Pin;
  GPIO_InitStruct.Mode = GPIO_MODE_INPUT;
  GPIO_InitStruct.Pull = GPIO_PULLUP;
  HAL_GPIO_Init(USB_OverCurrent_GPIO_Port, &GPIO_InitStruct);

  /*Configure GPIO pin : PC11 */
  GPIO_InitStruct.Pin = GPIO_PIN_11;
  GPIO_InitStruct.Mode = GPIO_MODE_INPUT;
  GPIO_InitStruct.Pull = GPIO_NOPULL;
  HAL_GPIO_Init(GPIOC, &GPIO_InitStruct);

  /*Configure GPIO pin : PD3 */
  GPIO_InitStruct.Pin = GPIO_PIN_3;
  GPIO_InitStruct.Mode = GPIO_MODE_INPUT;
  GPIO_InitStruct.Pull = GPIO_NOPULL;
  HAL_GPIO_Init(GPIOD, &GPIO_InitStruct);

  /*Configure GPIO pins : PD4 PD7 */
  GPIO_InitStruct.Pin = GPIO_PIN_4|GPIO_PIN_7;
  GPIO_InitStruct.Mode = GPIO_MODE_IT_RISING_FALLING;
  GPIO_InitStruct.Pull = GPIO_PULLUP;
  HAL_GPIO_Init(GPIOD, &GPIO_InitStruct);

  /*Configure GPIO pin : PD5 */
  GPIO_InitStruct.Pin = GPIO_PIN_5;
  GPIO_InitStruct.Mode = GPIO_MODE_INPUT;
  GPIO_InitStruct.Pull = GPIO_PULLUP;
  HAL_GPIO_Init(GPIOD, &GPIO_InitStruct);

  /*Configure GPIO pins : RMII_TX_EN_Pin RMII_TXD0_Pin */
  GPIO_InitStruct.Pin = RMII_TX_EN_Pin|RMII_TXD0_Pin;
  GPIO_InitStruct.Mode = GPIO_MODE_AF_PP;
  GPIO_InitStruct.Pull = GPIO_NOPULL;
  GPIO_InitStruct.Speed = GPIO_SPEED_FREQ_LOW;
  GPIO_InitStruct.Alternate = GPIO_AF11_ETH;
  HAL_GPIO_Init(GPIOG, &GPIO_InitStruct);

  /* EXTI interrupt init*/
  HAL_NVIC_SetPriority(EXTI0_IRQn, 0, 0);
  HAL_NVIC_EnableIRQ(EXTI0_IRQn);

  HAL_NVIC_SetPriority(EXTI1_IRQn, 0, 0);
  HAL_NVIC_EnableIRQ(EXTI1_IRQn);

  HAL_NVIC_SetPriority(EXTI2_IRQn, 0, 0);
  HAL_NVIC_EnableIRQ(EXTI2_IRQn);

  HAL_NVIC_SetPriority(EXTI3_IRQn, 0, 0);
  HAL_NVIC_EnableIRQ(EXTI3_IRQn);

  HAL_NVIC_SetPriority(EXTI4_IRQn, 0, 0);
  HAL_NVIC_EnableIRQ(EXTI4_IRQn);

  HAL_NVIC_SetPriority(EXTI9_5_IRQn, 0, 0);
  HAL_NVIC_EnableIRQ(EXTI9_5_IRQn);

}

void Error_Handler(void)
{
}

/************************ (C) COPYRIGHT STMicroelectronics *****END OF FILE****/
